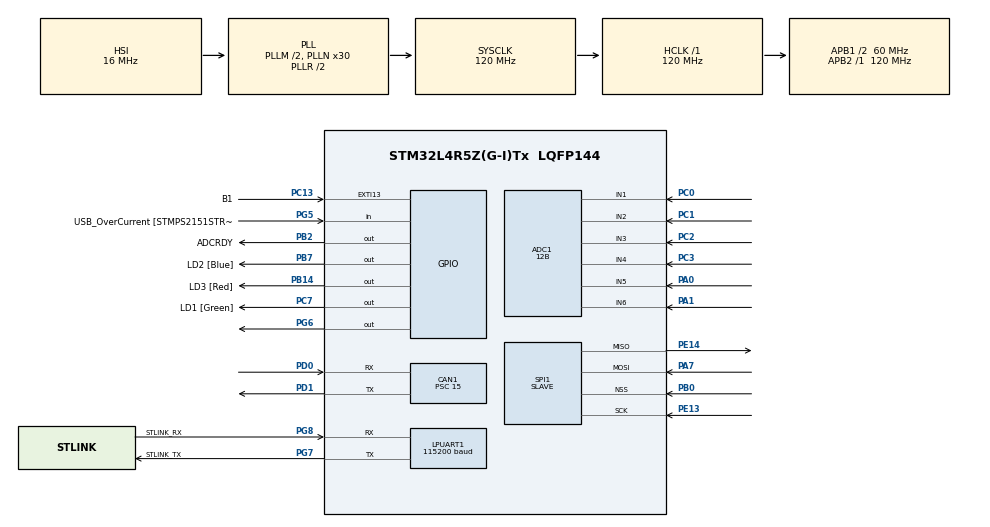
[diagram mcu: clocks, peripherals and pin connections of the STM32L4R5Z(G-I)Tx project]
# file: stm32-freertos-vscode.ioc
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ADC1.Channel-0\#ChannelRegularConversion=ADC_CHANNEL_1
ADC1.Channel-15\#ChannelRegularConversion=ADC_CHANNEL_1
ADC1.Channel-16\#ChannelRegularConversion=ADC_CHANNEL_1
ADC1.Channel-17\#ChannelRegularConversion=ADC_CHANNEL_1
ADC1.Channel-18\#ChannelRegularConversion=ADC_CHANNEL_1
ADC1.Channel-19\#ChannelRegularConversion=ADC_CHANNEL_1
ADC1.Channel-20\#ChannelRegularConversion=ADC_CHANNEL_1
ADC1.Channel-21\#ChannelRegularConversion=ADC_CHANNEL_1
ADC1.ClockPrescaler=ADC_CLOCK_SYNC_PCLK_DIV2
ADC1.DMAContinuousRequests=ENABLE
ADC1.EOCSelection=ADC_EOC_SEQ_CONV
ADC1.ExternalTrigConv=ADC_EXTERNALTRIG_T3_TRGO
ADC1.NbrOfConversion=8
ADC1.NbrOfConversionFlag=1
ADC1.OffsetNumber-0\#ChannelRegularConversion=ADC_OFFSET_NONE
ADC1.OffsetNumber-15\#ChannelRegularConversion=ADC_OFFSET_NONE
ADC1.OffsetNumber-16\#ChannelRegularConversion=ADC_OFFSET_NONE
ADC1.OffsetNumber-17\#ChannelRegularConversion=ADC_OFFSET_NONE
ADC1.OffsetNumber-18\#ChannelRegularConversion=ADC_OFFSET_NONE
ADC1.OffsetNumber-19\#ChannelRegularConversion=ADC_OFFSET_NONE
ADC1.OffsetNumber-20\#ChannelRegularConversion=ADC_OFFSET_NONE
ADC1.OffsetNumber-21\#ChannelRegularConversion=ADC_OFFSET_NONE
ADC1.Rank-0\#ChannelRegularConversion=1
ADC1.Rank-15\#ChannelRegularConversion=2
ADC1.Rank-16\#ChannelRegularConversion=3
ADC1.Rank-17\#ChannelRegularConversion=4
ADC1.Rank-18\#ChannelRegularConversion=5
ADC1.Rank-19\#ChannelRegularConversion=6
ADC1.Rank-20\#ChannelRegularConversion=7
ADC1.Rank-21\#ChannelRegularConversion=8
ADC1.Resolution=ADC_RESOLUTION_12B
ADC1.SamplingTime-0\#ChannelRegularConversion=ADC_SAMPLETIME_2CYCLES_5
ADC1.SamplingTime-15\#ChannelRegularConversion=ADC_SAMPLETIME_2CYCLES_5
ADC1.SamplingTime-16\#ChannelRegularConversion=ADC_SAMPLETIME_2CYCLES_5
ADC1.SamplingTime-17\#ChannelRegularConversion=ADC_SAMPLETIME_2CYCLES_5
ADC1.SamplingTime-18\#ChannelRegularConversion=ADC_SAMPLETIME_2CYCLES_5
ADC1.SamplingTime-19\#ChannelRegularConversion=ADC_SAMPLETIME_2CYCLES_5
ADC1.SamplingTime-20\#ChannelRegularConversion=ADC_SAMPLETIME_2CYCLES_5
ADC1.SamplingTime-21\#ChannelRegularConversion=ADC_SAMPLETIME_2CYCLES_5
ADC1.master=1
CAN1.ABOM=ENABLE
CAN1.BS1=CAN_BS1_2TQ
CAN1.CalculateBaudRate=999999
CAN1.CalculateTimeBit=1000
CAN1.CalculateTimeQuantum=250.00000000000003
CAN1.Prescaler=15
Dma.ADC1.3.Direction=DMA_PERIPH_TO_MEMORY
Dma.ADC1.3.EventEnable=DISABLE
Dma.ADC1.3.Instance=DMA1_Channel4
Dma.ADC1.3.MemDataAlignment=DMA_MDATAALIGN_HALFWORD
Dma.ADC1.3.MemInc=DMA_MINC_ENABLE
Dma.ADC1.3.Mode=DMA_CIRCULAR
Dma.ADC1.3.PeriphDataAlignment=DMA_PDATAALIGN_HALFWORD
Dma.ADC1.3.PeriphInc=DMA_PINC_DISABLE
Dma.ADC1.3.Polarity=HAL_DMAMUX_REQUEST_GEN_RISING
Dma.ADC1.3.Priority=DMA_PRIORITY_VERY_HIGH
Dma.ADC1.3.RequestNumber=1
Dma.ADC1.3.SignalID=NONE
Dma.ADC1.3.SyncEnable=DISABLE
Dma.ADC1.3.SyncPolarity=HAL_DMAMUX_SYNC_NO_EVENT
Dma.ADC1.3.SyncRequestNumber=1
Dma.ADC1.3.SyncSignalID=NONE
Dma.LPUART1_TX.2.Direction=DMA_MEMORY_TO_PERIPH
Dma.LPUART1_TX.2.EventEnable=DISABLE
Dma.LPUART1_TX.2.Instance=DMA1_Channel3
Dma.LPUART1_TX.2.MemDataAlignment=DMA_MDATAALIGN_BYTE
Dma.LPUART1_TX.2.MemInc=DMA_MINC_ENABLE
Dma.LPUART1_TX.2.Mode=DMA_NORMAL
Dma.LPUART1_TX.2.PeriphDataAlignment=DMA_PDATAALIGN_BYTE
Dma.LPUART1_TX.2.PeriphInc=DMA_PINC_DISABLE
Dma.LPUART1_TX.2.Polarity=HAL_DMAMUX_REQUEST_GEN_RISING
Dma.LPUART1_TX.2.Priority=DMA_PRIORITY_LOW
Dma.LPUART1_TX.2.RequestNumber=1
Dma.LPUART1_TX.2.SignalID=NONE
Dma.LPUART1_TX.2.SyncEnable=DISABLE
Dma.LPUART1_TX.2.SyncPolarity=HAL_DMAMUX_SYNC_NO_EVENT
Dma.LPUART1_TX.2.SyncRequestNumber=1
Dma.LPUART1_TX.2.SyncSignalID=NONE
Dma.MEMTOMEM.4.Direction=DMA_MEMORY_TO_MEMORY
Dma.MEMTOMEM.4.EventEnable=DISABLE
Dma.MEMTOMEM.4.Instance=DMA1_Channel5
Dma.MEMTOMEM.4.MemDataAlignment=DMA_MDATAALIGN_WORD
Dma.MEMTOMEM.4.MemInc=DMA_MINC_ENABLE
Dma.MEMTOMEM.4.Mode=DMA_NORMAL
Dma.MEMTOMEM.4.PeriphDataAlignment=DMA_PDATAALIGN_WORD
Dma.MEMTOMEM.4.PeriphInc=DMA_PINC_ENABLE
Dma.MEMTOMEM.4.Polarity=HAL_DMAMUX_REQUEST_GEN_RISING
Dma.MEMTOMEM.4.Priority=DMA_PRIORITY_VERY_HIGH
Dma.MEMTOMEM.4.RequestNumber=1
Dma.MEMTOMEM.4.SignalID=NONE
Dma.MEMTOMEM.4.SyncEnable=DISABLE
Dma.MEMTOMEM.4.SyncPolarity=HAL_DMAMUX_SYNC_NO_EVENT
Dma.MEMTOMEM.4.SyncRequestNumber=1
Dma.MEMTOMEM.4.SyncSignalID=NONE
Dma.Request0=SPI1_TX
Dma.Request1=SPI1_RX
Dma.Request2=LPUART1_TX
Dma.Request3=ADC1
Dma.Request4=MEMTOMEM
Dma.SPI1_RX.1.Direction=DMA_PERIPH_TO_MEMORY
Dma.SPI1_RX.1.EventEnable=DISABLE
Dma.SPI1_RX.1.Instance=DMA1_Channel2
Dma.SPI1_RX.1.MemDataAlignment=DMA_MDATAALIGN_BYTE
Dma.SPI1_RX.1.MemInc=DMA_MINC_ENABLE
Dma.SPI1_RX.1.Mode=DMA_NORMAL
Dma.SPI1_RX.1.PeriphDataAlignment=DMA_PDATAALIGN_BYTE
Dma.SPI1_RX.1.PeriphInc=DMA_PINC_DISABLE
Dma.SPI1_RX.1.Polarity=HAL_DMAMUX_REQUEST_GEN_RISING
Dma.SPI1_RX.1.Priority=DMA_PRIORITY_VERY_HIGH
Dma.SPI1_RX.1.RequestNumber=1
Dma.SPI1_RX.1.SignalID=NONE
Dma.SPI1_RX.1.SyncEnable=DISABLE
Dma.SPI1_RX.1.SyncPolarity=HAL_DMAMUX_SYNC_NO_EVENT
Dma.SPI1_RX.1.SyncRequestNumber=1
Dma.SPI1_RX.1.SyncSignalID=NONE
Dma.SPI1_TX.0.Direction=DMA_MEMORY_TO_PERIPH
Dma.SPI1_TX.0.EventEnable=DISABLE
Dma.SPI1_TX.0.Instance=DMA1_Channel1
Dma.SPI1_TX.0.MemDataAlignment=DMA_MDATAALIGN_BYTE
Dma.SPI1_TX.0.MemInc=DMA_MINC_ENABLE
Dma.SPI1_TX.0.Mode=DMA_NORMAL
Dma.SPI1_TX.0.PeriphDataAlignment=DMA_PDATAALIGN_BYTE
Dma.SPI1_TX.0.PeriphInc=DMA_PINC_DISABLE
Dma.SPI1_TX.0.Polarity=HAL_DMAMUX_REQUEST_GEN_RISING
Dma.SPI1_TX.0.Priority=DMA_PRIORITY_VERY_HIGH
Dma.SPI1_TX.0.RequestNumber=1
Dma.SPI1_TX.0.SignalID=NONE
Dma.SPI1_TX.0.SyncEnable=DISABLE
Dma.SPI1_TX.0.SyncPolarity=HAL_DMAMUX_SYNC_NO_EVENT
Dma.SPI1_TX.0.SyncRequestNumber=1
Dma.SPI1_TX.0.SyncSignalID=NONE
FREERTOS.Tasks01=defaultTask,24,128,StartDefaultTask,Default,NULL,Static,defaultTaskBuffer,defaultTaskControlBlock
LPUART1.BaudRate=115200
LPUART1.FifoMode=UART_FIFOMODE_ENABLE
LPUART1.WordLength=UART_WORDLENGTH_8B
Mcu.Family=STM32L4
Mcu.Name=STM32L4R5Z(G-I)Tx
Mcu.Package=LQFP144
NVIC.DMA1_Channel1_IRQn=true\:5\:0\:false\:false\:true\:true\:false\:true\:true
NVIC.DMA1_Channel2_IRQn=true\:5\:0\:false\:false\:true\:true\:false\:true\:true
NVIC.DMA1_Channel3_IRQn=true\:5\:0\:false\:false\:true\:true\:false\:true\:true
NVIC.DMA1_Channel4_IRQn=true\:5\:0\:false\:false\:true\:true\:false\:true\:true
NVIC.DMA1_Channel5_IRQn=true\:5\:0\:false\:false\:true\:true\:true\:true\:true
NVIC.LPUART1_IRQn=true\:5\:0\:false\:false\:true\:true\:true\:true\:true
NVIC.PriorityGroup=NVIC_PRIORITYGROUP_4
NVIC.TIM6_DAC_IRQn=true\:15\:0\:false\:false\:true\:false\:false\:true\:true
NVIC.TimeBase=TIM6_DAC_IRQn
NVIC.TimeBaseIP=TIM6
PA0.Signal=ADCx_IN5
PA1.Signal=ADCx_IN6
PA10.GPIO_Label=USB_ID
PA10.Signal=USB_OTG_FS_ID
PA11.GPIO_Label=USB_DM
PA11.Signal=USB_OTG_FS_DM
PA12.GPIO_Label=USB_DP
PA12.Signal=USB_OTG_FS_DP
PA13\ (JTMS/SWDIO).GPIO_Label=TMS
PA13\ (JTMS/SWDIO).Mode=Trace_Asynchronous_SW
PA13\ (JTMS/SWDIO).Signal=SYS_JTMS-SWDIO
PA14\ (JTCK/SWCLK).GPIO_Label=TCK
PA14\ (JTCK/SWCLK).Mode=Trace_Asynchronous_SW
PA14\ (JTCK/SWCLK).Signal=SYS_JTCK-SWCLK
PA7.GPIO_PuPd=GPIO_NOPULL
PA7.Mode=Full_Duplex_Slave
PA7.Signal=SPI1_MOSI
PA8.GPIO_Label=USB_SOF [TP1]
PA8.Signal=USB_OTG_FS_SOF
PA9.GPIO_Label=USB_VBUS
PA9.Signal=USB_OTG_FS_VBUS
PB0.GPIO_PuPd=GPIO_PULLUP
PB0.Mode=NSS_Signal_Hard_Input
PB0.Signal=SPI1_NSS
PB14.GPIO_Label=LD3 [Red]
PB14.Signal=GPIO_Output
PB2.GPIO_Label=ADCRDY
PB2.GPIO_PuPd=GPIO_NOPULL
PB2.Signal=GPIO_Output
PB3\ (JTDO/TRACESWO).GPIO_Label=SWO
PB3\ (JTDO/TRACESWO).Mode=Trace_Asynchronous_SW
PB3\ (JTDO/TRACESWO).Signal=SYS_JTDO-SWO
PB7.GPIO_Label=LD2 [Blue]
PB7.Signal=GPIO_Output
PC0.Signal=ADCx_IN1
PC1.Signal=ADCx_IN2
PC13.GPIO_Label=B1
PC13.Signal=GPXTI13
PC14-OSC32_IN\ (PC14).Mode=LSE-External-Oscillator
PC14-OSC32_IN\ (PC14).Signal=RCC_OSC32_IN
PC15-OSC32_OUT\ (PC15).Mode=LSE-External-Oscillator
PC15-OSC32_OUT\ (PC15).Signal=RCC_OSC32_OUT
PC2.Signal=ADCx_IN3
PC3.Signal=ADCx_IN4
PC7.GPIO_Label=LD1 [Green]
PC7.Signal=GPIO_Output
PD0.Mode=CAN_Activate
PD0.Signal=CAN1_RX
PD1.Mode=CAN_Activate
PD1.Signal=CAN1_TX
PD8.GPIO_Label=STLK_RX [STM32F103CBT6_PA3]
PD8.Signal=USART3_TX
PD9.GPIO_Label=STLK_TX [STM32F103CBT6_PA2]
PD9.Signal=USART3_RX
PE13.Mode=Full_Duplex_Slave
PE13.Signal=SPI1_SCK
PE14.GPIO_PuPd=GPIO_NOPULL
PE14.Mode=Full_Duplex_Slave
PE14.Signal=SPI1_MISO
PG5.GPIO_Label=USB_OverCurrent [STMPS2151STR_FAULT]
PG5.Signal=GPIO_Input
PG6.Signal=GPIO_Output
PG7.GPIO_Label=STLINK_TX
PG7.Mode=Asynchronous
PG7.Signal=LPUART1_TX
PG8.GPIO_Label=STLINK_RX
PG8.Mode=Asynchronous
PG8.Signal=LPUART1_RX
PH0-OSC_IN\ (PH0).Mode=HSE-External-Oscillator
PH0-OSC_IN\ (PH0).Signal=RCC_OSC_IN
PH1-OSC_OUT\ (PH1).Mode=HSE-External-Oscillator
PH1-OSC_OUT\ (PH1).Signal=RCC_OSC_OUT
ProjectManager.HeapSize=0x2000
ProjectManager.StackSize=0x400
ProjectManager.TargetToolchain=CMake
RCC.48MHZClocksFreq_Value=24000000
RCC.ADCCLockSelection=RCC_ADCCLKSOURCE_SYSCLK
RCC.ADCFreq_Value=120000000
RCC.AHBFreq_Value=120000000
RCC.APB1CLKDivider=RCC_HCLK_DIV2
RCC.APB1Freq_Value=60000000
RCC.APB1TimFreq_Value=120000000
RCC.APB2Freq_Value=120000000
RCC.APB2TimFreq_Value=120000000
RCC.CK48CLockSelection=RCC_USBCLKSOURCE_HSI48
RCC.CortexFreq_Value=120000000
RCC.HCLKFreq_Value=120000000
RCC.HSE_VALUE=8000000
RCC.HSI48_VALUE=48000000
RCC.HSI_VALUE=16000000
RCC.MSI_VALUE=4000000
RCC.PLLM1=2
RCC.PLLMUL=RCC_PLL_MUL9
RCC.PLLN=30
RCC.PLLSAI1N=12
RCC.PLLSourceVirtual=RCC_PLLSOURCE_HSI
RCC.PRESCALERUSB=RCC_USBCLKSOURCE_PLL_DIV1_5
RCC.SYSCLKFreq_VALUE=120000000
RCC.SYSCLKSource=RCC_SYSCLKSOURCE_PLLCLK
RCC.SYSCLKSourceVirtual=RCC_SYSCLKSOURCE_PLLCLK
RCC.USBFreq_Value=48000000
RCC.VCOOutputFreq_Value=240000000
SH.ADCx_IN1.0=ADC1_IN1,IN1-Single-Ended
SH.ADCx_IN2.0=ADC1_IN2,IN2-Single-Ended
SH.ADCx_IN3.0=ADC1_IN3,IN3-Single-Ended
SH.ADCx_IN4.0=ADC1_IN4,IN4-Single-Ended
SH.ADCx_IN5.0=ADC1_IN5,IN5-Single-Ended
SH.ADCx_IN6.0=ADC1_IN6,IN6-Single-Ended
SPI1.CLKPhase=SPI_PHASE_1EDGE
SPI1.DataSize=SPI_DATASIZE_8BIT
SPI1.Direction=SPI_DIRECTION_2LINES
SPI1.Mode=SPI_MODE_SLAVE
SPI1.VirtualNSS=VM_NSSHARD
SPI1.VirtualType=VM_SLAVE
TIM3.Period=500
TIM3.Prescaler=120
TIM3.TIM_MasterOutputTrigger=TIM_TRGO_UPDATE
VP_FREERTOS_VS_CMSIS_V2.Mode=CMSIS_V2
VP_SYS_VS_tim6.Mode=TIM6
VP_TIM3_VS_ClockSourceINT.Mode=Internal
board=NUCLEO-L4R5ZI

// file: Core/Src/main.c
/* USER CODE BEGIN Header */
/**
 ******************************************************************************
 * @file           : main.c
 * @brief          : Main program body
 ******************************************************************************
 * @attention
 *
 * Copyright (c) 2024 STMicroelectronics.
 * All rights reserved.
 *
 * This software is licensed under terms that can be found in the LICENSE file
 * in the root directory of this software component.
 * If no LICENSE file comes with this software, it is provided AS-IS.
 *
 ******************************************************************************
 */
#include <limits.h>
#include <stdio.h>
#include <stdlib.h>
#include <string.h>
/* USER CODE END Header */
#include "main.h"
#include "cmsis_os.h"

/* USER CODE BEGIN Includes */
#include <sys/types.h>
#include "projdefs.h"
#include "stm32l4xx_hal_tim.h"
#include "task.h"
#include "timers.h"
#include "spi_slave.h"
#include "uart_api.h"
#include "led.h"
#include "shell.h"
#include "adc_manage.h"
/* USER CODE END Includes */

typedef StaticTask_t osStaticThreadDef_t;

/* USER CODE BEGIN PD */
#define DEFAULT_STACK_SIZE  (configMINIMAL_STACK_SIZE)
#define MAINTASK_STACK_SIZE (DEFAULT_STACK_SIZE + 128U)
/* USER CODE END PD */

ADC_HandleTypeDef hadc1;
DMA_HandleTypeDef hdma_adc1;

CAN_HandleTypeDef hcan1;

UART_HandleTypeDef hlpuart1;
DMA_HandleTypeDef hdma_lpuart1_tx;

SPI_HandleTypeDef hspi1;
DMA_HandleTypeDef hdma_spi1_tx;
DMA_HandleTypeDef hdma_spi1_rx;

TIM_HandleTypeDef htim3;

DMA_HandleTypeDef hdma_memtomem_dma1_channel5;
/* Definitions for defaultTask */
osThreadId_t defaultTaskHandle;
uint32_t defaultTaskBuffer[ 128 ];
osStaticThreadDef_t defaultTaskControlBlock;
const osThreadAttr_t defaultTask_attributes = {
  .name = "defaultTask",
  .cb_mem = &defaultTaskControlBlock,
  .cb_size = sizeof(defaultTaskControlBlock),
  .stack_mem = &defaultTaskBuffer[0],
  .stack_size = sizeof(defaultTaskBuffer),
  .priority = (osPriority_t) osPriorityNormal,
};
/* USER CODE BEGIN PV */

static TimerHandle_t xCyclicTimerHandle;
static StaticTimer_t xCyclicTimerBuffer;

/* USER CODE END PV */

void SystemClock_Config(void);
static void MX_GPIO_Init(void);
static void MX_DMA_Init(void);
static void MX_LPUART1_UART_Init(void);
static void MX_SPI1_Init(void);
static void MX_ADC1_Init(void);
static void MX_TIM3_Init(void);
static void MX_CAN1_Init(void);
void StartDefaultTask(void *argument);

/* USER CODE BEGIN PFP */
static void vCyclicTimerCB(TimerHandle_t xTimer);

/* USER CODE END PFP */

int main(void)
{

  /* USER CODE BEGIN 1 */
  int retval;
  /* USER CODE END 1 */

  /* MCU Configuration--------------------------------------------------------*/

  /* Reset of all peripherals, Initializes the Flash interface and the Systick. */
  HAL_Init();

  /* Configure the system clock */
  SystemClock_Config();

  /* Initialize all configured peripherals */
  MX_GPIO_Init();
  MX_DMA_Init();
  MX_LPUART1_UART_Init();
  MX_SPI1_Init();
  MX_ADC1_Init();
  MX_TIM3_Init();
  MX_CAN1_Init();
  /* USER CODE BEGIN 2 */
  if (printf_init(&hlpuart1) != 0) {
    Error_Handler();
  }
  (void)PrintString("\r\n8CH ADC FW ver1.0\r\n");
  (void)PrintString("printf_init...ok\r\n");
  if (MyADCInit(&hadc1) != 0) {
    Error_Handler();
  }
  (void)PrintString("MyADCInit...ok\r\n");

  /* USER CODE END 2 */

  /* Init scheduler */
  osKernelInitialize();

  /* USER CODE BEGIN RTOS_TIMERS */
  /* start timers, add new ones, ... */
  xCyclicTimerHandle = xTimerCreateStatic(
      "CyclicTimer",
      pdMS_TO_TICKS(100),
      pdTRUE,
      NULL,
      vCyclicTimerCB,
      &xCyclicTimerBuffer);
  if (NULL == xCyclicTimerHandle) {
    Error_Handler();
  }
  /* USER CODE END RTOS_TIMERS */

  /* Create the thread(s) */
  /* creation of defaultTask */
  defaultTaskHandle = osThreadNew(StartDefaultTask, NULL, &defaultTask_attributes);

  /* USER CODE BEGIN RTOS_THREADS */
  if (NULL == defaultTaskHandle) {
    Error_Handler();
  }
  /* add threads, ... */
  retval = StartSPITask(&hspi1);
  if (retval != 0) {
    Error_Handler();
  }
  retval = ShellTaskStart();
  if (retval != 0) {
    Error_Handler();
  }
  retval = ADCTaskStart(&hadc1);
  if (retval != 0) {
    Error_Handler();
  }
  /* USER CODE END RTOS_THREADS */

  /* Start scheduler */
  osKernelStart();

  /* We should never get here as control is now taken by the scheduler */

  /* Infinite loop */
  while (1) {

  }
}

void SystemClock_Config(void)
{
  RCC_OscInitTypeDef RCC_OscInitStruct = {0};
  RCC_ClkInitTypeDef RCC_ClkInitStruct = {0};

  /** Configure the main internal regulator output voltage
  */
  if (HAL_PWREx_ControlVoltageScaling(PWR_REGULATOR_VOLTAGE_SCALE1_BOOST) != HAL_OK)
  {
    Error_Handler();
  }

  /** Initializes the RCC Oscillators according to the specified parameters
  * in the RCC_OscInitTypeDef structure.
  */
  RCC_OscInitStruct.OscillatorType = RCC_OSCILLATORTYPE_HSI;
  RCC_OscInitStruct.HSIState = RCC_HSI_ON;
  RCC_OscInitStruct.HSICalibrationValue = RCC_HSICALIBRATION_DEFAULT;
  RCC_OscInitStruct.PLL.PLLState = RCC_PLL_ON;
  RCC_OscInitStruct.PLL.PLLSource = RCC_PLLSOURCE_HSI;
  RCC_OscInitStruct.PLL.PLLM = 2;
  RCC_OscInitStruct.PLL.PLLN = 30;
  RCC_OscInitStruct.PLL.PLLP = RCC_PLLP_DIV2;
  RCC_OscInitStruct.PLL.PLLQ = RCC_PLLQ_DIV2;
  RCC_OscInitStruct.PLL.PLLR = RCC_PLLR_DIV2;
  if (HAL_RCC_OscConfig(&RCC_OscInitStruct) != HAL_OK)
  {
    Error_Handler();
  }

  /** Initializes the CPU, AHB and APB buses clocks
  */
  RCC_ClkInitStruct.ClockType = RCC_CLOCKTYPE_HCLK|RCC_CLOCKTYPE_SYSCLK
                              |RCC_CLOCKTYPE_PCLK1|RCC_CLOCKTYPE_PCLK2;
  RCC_ClkInitStruct.SYSCLKSource = RCC_SYSCLKSOURCE_PLLCLK;
  RCC_ClkInitStruct.AHBCLKDivider = RCC_SYSCLK_DIV1;
  RCC_ClkInitStruct.APB1CLKDivider = RCC_HCLK_DIV2;
  RCC_ClkInitStruct.APB2CLKDivider = RCC_HCLK_DIV1;

  if (HAL_RCC_ClockConfig(&RCC_ClkInitStruct, FLASH_LATENCY_5) != HAL_OK)
  {
    Error_Handler();
  }
}

static void MX_ADC1_Init(void)
{

  ADC_ChannelConfTypeDef sConfig = {0};

  /** Common config
  */
  hadc1.Instance = ADC1;
  hadc1.Init.ClockPrescaler = ADC_CLOCK_SYNC_PCLK_DIV2;
  hadc1.Init.Resolution = ADC_RESOLUTION_12B;
  hadc1.Init.DataAlign = ADC_DATAALIGN_RIGHT;
  hadc1.Init.ScanConvMode = ADC_SCAN_ENABLE;
  hadc1.Init.EOCSelection = ADC_EOC_SEQ_CONV;
  hadc1.Init.LowPowerAutoWait = DISABLE;
  hadc1.Init.ContinuousConvMode = DISABLE;
  hadc1.Init.NbrOfConversion = 8;
  hadc1.Init.DiscontinuousConvMode = DISABLE;
  hadc1.Init.ExternalTrigConv = ADC_EXTERNALTRIG_T3_TRGO;
  hadc1.Init.ExternalTrigConvEdge = ADC_EXTERNALTRIGCONVEDGE_RISING;
  hadc1.Init.DMAContinuousRequests = ENABLE;
  hadc1.Init.Overrun = ADC_OVR_DATA_PRESERVED;
  hadc1.Init.OversamplingMode = DISABLE;
  if (HAL_ADC_Init(&hadc1) != HAL_OK)
  {
    Error_Handler();
  }

  /** Configure Regular Channel
  */
  sConfig.Channel = ADC_CHANNEL_1;
  sConfig.Rank = ADC_REGULAR_RANK_1;
  sConfig.SamplingTime = ADC_SAMPLETIME_2CYCLES_5;
  sConfig.SingleDiff = ADC_SINGLE_ENDED;
  sConfig.OffsetNumber = ADC_OFFSET_NONE;
  sConfig.Offset = 0;
  if (HAL_ADC_ConfigChannel(&hadc1, &sConfig) != HAL_OK)
  {
    Error_Handler();
  }

  /** Configure Regular Channel
  */
  sConfig.Rank = ADC_REGULAR_RANK_2;
  if (HAL_ADC_ConfigChannel(&hadc1, &sConfig) != HAL_OK)
  {
    Error_Handler();
  }

  /** Configure Regular Channel
  */
  sConfig.Rank = ADC_REGULAR_RANK_3;
  if (HAL_ADC_ConfigChannel(&hadc1, &sConfig) != HAL_OK)
  {
    Error_Handler();
  }

  /** Configure Regular Channel
  */
  sConfig.Rank = ADC_REGULAR_RANK_4;
  if (HAL_ADC_ConfigChannel(&hadc1, &sConfig) != HAL_OK)
  {
    Error_Handler();
  }

  /** Configure Regular Channel
  */
  sConfig.Rank = ADC_REGULAR_RANK_5;
  if (HAL_ADC_ConfigChannel(&hadc1, &sConfig) != HAL_OK)
  {
    Error_Handler();
  }

  /** Configure Regular Channel
  */
  sConfig.Rank = ADC_REGULAR_RANK_6;
  if (HAL_ADC_ConfigChannel(&hadc1, &sConfig) != HAL_OK)
  {
    Error_Handler();
  }

  /** Configure Regular Channel
  */
  sConfig.Rank = ADC_REGULAR_RANK_7;
  if (HAL_ADC_ConfigChannel(&hadc1, &sConfig) != HAL_OK)
  {
    Error_Handler();
  }

  /** Configure Regular Channel
  */
  sConfig.Rank = ADC_REGULAR_RANK_8;
  if (HAL_ADC_ConfigChannel(&hadc1, &sConfig) != HAL_OK)
  {
    Error_Handler();
  }

}

static void MX_CAN1_Init(void)
{

  hcan1.Instance = CAN1;
  hcan1.Init.Prescaler = 15;
  hcan1.Init.Mode = CAN_MODE_NORMAL;
  hcan1.Init.SyncJumpWidth = CAN_SJW_1TQ;
  hcan1.Init.TimeSeg1 = CAN_BS1_2TQ;
  hcan1.Init.TimeSeg2 = CAN_BS2_1TQ;
  hcan1.Init.TimeTriggeredMode = DISABLE;
  hcan1.Init.AutoBusOff = ENABLE;
  hcan1.Init.AutoWakeUp = DISABLE;
  hcan1.Init.AutoRetransmission = DISABLE;
  hcan1.Init.ReceiveFifoLocked = DISABLE;
  hcan1.Init.TransmitFifoPriority = DISABLE;
  if (HAL_CAN_Init(&hcan1) != HAL_OK)
  {
    Error_Handler();
  }

}

static void MX_LPUART1_UART_Init(void)
{

  hlpuart1.Instance = LPUART1;
  hlpuart1.Init.BaudRate = 115200;
  hlpuart1.Init.WordLength = UART_WORDLENGTH_8B;
  hlpuart1.Init.StopBits = UART_STOPBITS_1;
  hlpuart1.Init.Parity = UART_PARITY_NONE;
  hlpuart1.Init.Mode = UART_MODE_TX_RX;
  hlpuart1.Init.HwFlowCtl = UART_HWCONTROL_NONE;
  hlpuart1.Init.OneBitSampling = UART_ONE_BIT_SAMPLE_DISABLE;
  hlpuart1.Init.ClockPrescaler = UART_PRESCALER_DIV1;
  hlpuart1.AdvancedInit.AdvFeatureInit = UART_ADVFEATURE_NO_INIT;
  hlpuart1.FifoMode = UART_FIFOMODE_ENABLE;
  if (HAL_UART_Init(&hlpuart1) != HAL_OK)
  {
    Error_Handler();
  }
  if (HAL_UARTEx_SetTxFifoThreshold(&hlpuart1, UART_TXFIFO_THRESHOLD_1_8) != HAL_OK)
  {
    Error_Handler();
  }
  if (HAL_UARTEx_SetRxFifoThreshold(&hlpuart1, UART_RXFIFO_THRESHOLD_1_8) != HAL_OK)
  {
    Error_Handler();
  }
  if (HAL_UARTEx_EnableFifoMode(&hlpuart1) != HAL_OK)
  {
    Error_Handler();
  }

}

static void MX_SPI1_Init(void)
{

  /* SPI1 parameter configuration*/
  hspi1.Instance = SPI1;
  hspi1.Init.Mode = SPI_MODE_SLAVE;
  hspi1.Init.Direction = SPI_DIRECTION_2LINES;
  hspi1.Init.DataSize = SPI_DATASIZE_8BIT;
  hspi1.Init.CLKPolarity = SPI_POLARITY_LOW;
  hspi1.Init.CLKPhase = SPI_PHASE_1EDGE;
  hspi1.Init.NSS = SPI_NSS_HARD_INPUT;
  hspi1.Init.FirstBit = SPI_FIRSTBIT_MSB;
  hspi1.Init.TIMode = SPI_TIMODE_DISABLE;
  hspi1.Init.CRCCalculation = SPI_CRCCALCULATION_DISABLE;
  hspi1.Init.CRCPolynomial = 7;
  hspi1.Init.CRCLength = SPI_CRC_LENGTH_DATASIZE;
  hspi1.Init.NSSPMode = SPI_NSS_PULSE_DISABLE;
  if (HAL_SPI_Init(&hspi1) != HAL_OK)
  {
    Error_Handler();
  }

}

static void MX_TIM3_Init(void)
{

  TIM_ClockConfigTypeDef sClockSourceConfig = {0};
  TIM_MasterConfigTypeDef sMasterConfig = {0};

  htim3.Instance = TIM3;
  htim3.Init.Prescaler = 120;
  htim3.Init.CounterMode = TIM_COUNTERMODE_UP;
  htim3.Init.Period = 500;
  htim3.Init.ClockDivision = TIM_CLOCKDIVISION_DIV1;
  htim3.Init.AutoReloadPreload = TIM_AUTORELOAD_PRELOAD_DISABLE;
  if (HAL_TIM_Base_Init(&htim3) != HAL_OK)
  {
    Error_Handler();
  }
  sClockSourceConfig.ClockSource = TIM_CLOCKSOURCE_INTERNAL;
  if (HAL_TIM_ConfigClockSource(&htim3, &sClockSourceConfig) != HAL_OK)
  {
    Error_Handler();
  }
  sMasterConfig.MasterOutputTrigger = TIM_TRGO_UPDATE;
  sMasterConfig.MasterSlaveMode = TIM_MASTERSLAVEMODE_DISABLE;
  if (HAL_TIMEx_MasterConfigSynchronization(&htim3, &sMasterConfig) != HAL_OK)
  {
    Error_Handler();
  }

}

static void MX_DMA_Init(void)
{

  /* DMA controller clock enable */
  __HAL_RCC_DMAMUX1_CLK_ENABLE();
  __HAL_RCC_DMA1_CLK_ENABLE();

  /* Configure DMA request hdma_memtomem_dma1_channel5 on DMA1_Channel5 */
  hdma_memtomem_dma1_channel5.Instance = DMA1_Channel5;
  hdma_memtomem_dma1_channel5.Init.Request = DMA_REQUEST_MEM2MEM;
  hdma_memtomem_dma1_channel5.Init.Direction = DMA_MEMORY_TO_MEMORY;
  hdma_memtomem_dma1_channel5.Init.PeriphInc = DMA_PINC_ENABLE;
  hdma_memtomem_dma1_channel5.Init.MemInc = DMA_MINC_ENABLE;
  hdma_memtomem_dma1_channel5.Init.PeriphDataAlignment = DMA_PDATAALIGN_WORD;
  hdma_memtomem_dma1_channel5.Init.MemDataAlignment = DMA_MDATAALIGN_WORD;
  hdma_memtomem_dma1_channel5.Init.Mode = DMA_NORMAL;
  hdma_memtomem_dma1_channel5.Init.Priority = DMA_PRIORITY_VERY_HIGH;
  if (HAL_DMA_Init(&hdma_memtomem_dma1_channel5) != HAL_OK)
  {
    Error_Handler( );
  }

  /* DMA interrupt init */
  /* DMA1_Channel1_IRQn interrupt configuration */
  HAL_NVIC_SetPriority(DMA1_Channel1_IRQn, 5, 0);
  HAL_NVIC_EnableIRQ(DMA1_Channel1_IRQn);
  /* DMA1_Channel2_IRQn interrupt configuration */
  HAL_NVIC_SetPriority(DMA1_Channel2_IRQn, 5, 0);
  HAL_NVIC_EnableIRQ(DMA1_Channel2_IRQn);
  /* DMA1_Channel3_IRQn interrupt configuration */
  HAL_NVIC_SetPriority(DMA1_Channel3_IRQn, 5, 0);
  HAL_NVIC_EnableIRQ(DMA1_Channel3_IRQn);
  /* DMA1_Channel4_IRQn interrupt configuration */
  HAL_NVIC_SetPriority(DMA1_Channel4_IRQn, 5, 0);
  HAL_NVIC_EnableIRQ(DMA1_Channel4_IRQn);
  /* DMA1_Channel5_IRQn interrupt configuration */
  HAL_NVIC_SetPriority(DMA1_Channel5_IRQn, 5, 0);
  HAL_NVIC_EnableIRQ(DMA1_Channel5_IRQn);

}

static void MX_GPIO_Init(void)
{
  GPIO_InitTypeDef GPIO_InitStruct = {0};

  /* GPIO Ports Clock Enable */
  __HAL_RCC_GPIOC_CLK_ENABLE();
  __HAL_RCC_GPIOH_CLK_ENABLE();
  __HAL_RCC_GPIOA_CLK_ENABLE();
  __HAL_RCC_GPIOB_CLK_ENABLE();
  __HAL_RCC_GPIOE_CLK_ENABLE();
  __HAL_RCC_GPIOD_CLK_ENABLE();
  __HAL_RCC_GPIOG_CLK_ENABLE();
  HAL_PWREx_EnableVddIO2();

  /*Configure GPIO pin Output Level */
  HAL_GPIO_WritePin(GPIOB, ADCRDY_Pin|LD3_Pin|LD2_Pin, GPIO_PIN_RESET);

  /*Configure GPIO pin Output Level */
  HAL_GPIO_WritePin(GPIOG, GPIO_PIN_6, GPIO_PIN_RESET);

  /*Configure GPIO pin Output Level */
  HAL_GPIO_WritePin(LD1_GPIO_Port, LD1_Pin, GPIO_PIN_RESET);

  /*Configure GPIO pin : B1_Pin */
  GPIO_InitStruct.Pin = B1_Pin;
  GPIO_InitStruct.Mode = GPIO_MODE_IT_RISING;
  GPIO_InitStruct.Pull = GPIO_NOPULL;
  HAL_GPIO_Init(B1_GPIO_Port, &GPIO_InitStruct);

  /*Configure GPIO pins : ADCRDY_Pin LD3_Pin LD2_Pin */
  GPIO_InitStruct.Pin = ADCRDY_Pin|LD3_Pin|LD2_Pin;
  GPIO_InitStruct.Mode = GPIO_MODE_OUTPUT_PP;
  GPIO_InitStruct.Pull = GPIO_NOPULL;
  GPIO_InitStruct.Speed = GPIO_SPEED_FREQ_LOW;
  HAL_GPIO_Init(GPIOB, &GPIO_InitStruct);

  /*Configure GPIO pins : STLK_RX_Pin STLK_TX_Pin */
  GPIO_InitStruct.Pin = STLK_RX_Pin|STLK_TX_Pin;
  GPIO_InitStruct.Mode = GPIO_MODE_AF_PP;
  GPIO_InitStruct.Pull = GPIO_NOPULL;
  GPIO_InitStruct.Speed = GPIO_SPEED_FREQ_VERY_HIGH;
  GPIO_InitStruct.Alternate = GPIO_AF7_USART3;
  HAL_GPIO_Init(GPIOD, &GPIO_InitStruct);

  /*Configure GPIO pin : USB_OverCurrent_Pin */
  GPIO_InitStruct.Pin = USB_OverCurrent_Pin;
  GPIO_InitStruct.Mode = GPIO_MODE_INPUT;
  GPIO_InitStruct.Pull = GPIO_NOPULL;
  HAL_GPIO_Init(USB_OverCurrent_GPIO_Port, &GPIO_InitStruct);

  /*Configure GPIO pin : PG6 */
  GPIO_InitStruct.Pin = GPIO_PIN_6;
  GPIO_InitStruct.Mode = GPIO_MODE_OUTPUT_PP;
  GPIO_InitStruct.Pull = GPIO_NOPULL;
  GPIO_InitStruct.Speed = GPIO_SPEED_FREQ_LOW;
  HAL_GPIO_Init(GPIOG, &GPIO_InitStruct);

  /*Configure GPIO pin : LD1_Pin */
  GPIO_InitStruct.Pin = LD1_Pin;
  GPIO_InitStruct.Mode = GPIO_MODE_OUTPUT_PP;
  GPIO_InitStruct.Pull = GPIO_NOPULL;
  GPIO_InitStruct.Speed = GPIO_SPEED_FREQ_LOW;
  HAL_GPIO_Init(LD1_GPIO_Port, &GPIO_InitStruct);

  /*Configure GPIO pins : USB_SOF_Pin USB_ID_Pin USB_DM_Pin USB_DP_Pin */
  GPIO_InitStruct.Pin = USB_SOF_Pin|USB_ID_Pin|USB_DM_Pin|USB_DP_Pin;
  GPIO_InitStruct.Mode = GPIO_MODE_AF_PP;
  GPIO_InitStruct.Pull = GPIO_NOPULL;
  GPIO_InitStruct.Speed = GPIO_SPEED_FREQ_VERY_HIGH;
  GPIO_InitStruct.Alternate = GPIO_AF10_OTG_FS;
  HAL_GPIO_Init(GPIOA, &GPIO_InitStruct);

  /*Configure GPIO pin : USB_VBUS_Pin */
  GPIO_InitStruct.Pin = USB_VBUS_Pin;
  GPIO_InitStruct.Mode = GPIO_MODE_INPUT;
  GPIO_InitStruct.Pull = GPIO_NOPULL;
  HAL_GPIO_Init(USB_VBUS_GPIO_Port, &GPIO_InitStruct);

}

/* USER CODE BEGIN 4 */
void vCyclicTimerCB(TimerHandle_t xTimer)
{
  (void)xTimer;

  (void)xTaskNotify(defaultTaskHandle, 0UL, eNoAction);
}
/* USER CODE END 4 */

void StartDefaultTask(void *argument)
{
  /* USER CODE BEGIN 5 */
  (void)argument;
  BaseType_t retStatus              = pdPASS;
  // static const char strhelloworld[]        = "Hello. World!";
  uint32_t   DefaultTaskNotifyValue = 0U;
  uint32_t   clearonentry           = 0U;
  uint32_t   clearonexit            = ULONG_MAX;

  retStatus = xTimerStart(xCyclicTimerHandle, 0UL);
  if (pdFAIL == retStatus) {
    Error_Handler();
  }

  HAL_TIM_Base_Start(&htim3);

  /* Infinite loop */
  while (pdTRUE) {
    retStatus = xTaskNotifyWait(clearonentry, clearonexit,
        &DefaultTaskNotifyValue, portMAX_DELAY);
    if (pdFAIL == retStatus) {
      Error_Handler();
    }
    LEDToggle(LED1);
    // PrintString("[%6lu] %s\r\n", (unsigned long)DefaultTaskNotifyValue, strhelloworld);
  }
  /* USER CODE END 5 */
}

void HAL_TIM_PeriodElapsedCallback(TIM_HandleTypeDef *htim)
{
  if (htim->Instance == TIM6) {
    HAL_IncTick();
  }
}

void Error_Handler(void)
{
  /* USER CODE BEGIN Error_Handler_Debug */
  /* User can add his own implementation to report the HAL error return state */
  __disable_irq();
  LEDOff(LED1);
  LEDOn(LED3);
  while (1) {
  }
  /* USER CODE END Error_Handler_Debug */
}
